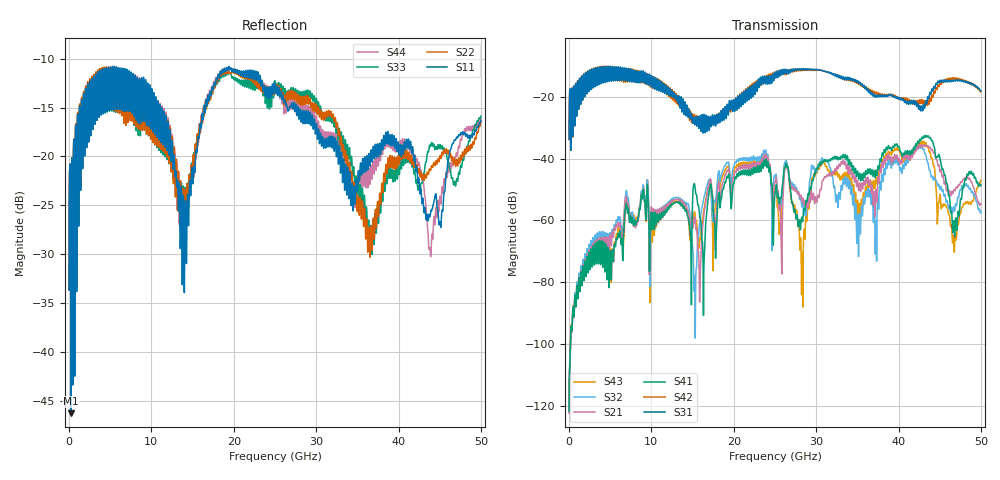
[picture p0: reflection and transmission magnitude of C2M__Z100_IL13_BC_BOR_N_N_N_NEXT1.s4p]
# GHz S MA R 50
! S-Parameters data
! Freq  magS11  angS11  magS12  angS12  magS13  angS13  magS14  angS14
!  magS21  angS21  magS22  angS22  magS23  angS23  magS24  angS24
!  magS31  angS31  magS32  angS32  magS33  angS33  magS34  angS34
!  magS41  angS41  magS42  angS42  magS43  angS43  magS44  angS44
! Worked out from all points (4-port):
!   5000 points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, 10 MHz to 50 GHz, reference 50 ohm
!   strongest paths, dB at 10 MHz, 12.51 GHz, 25.01 GHz, 37.51 GHz, 50 GHz:
!     S31: -33.8, -18.2, -12.1, -19.6, -18.0
!     S42: -33.8, -17.6, -12.1, -18.8, -18.2
!     S41: -121.7, -54.8, -51.4, -42.6, -48.5
!     S21: -122.4, -53.7, -47.6, -46.1, -54.6
!     S32: -122.1, -53.0, -45.6, -52.2, -57.1
!     S43: -121.3, -54.3, -49.7, -44.4, -47.0
!   lowest |S11| = -46.3 dB at 240 MHz (marker M1), VSWR 1.01, Z = 50.1 + j0.464 ohm
!   |S11| at or under -10 dB: start of sweep to end of sweep
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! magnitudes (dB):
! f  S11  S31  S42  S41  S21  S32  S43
! 10 MHz  -33.7  -33.8  -33.8  -121.7  -122.4  -122.1  -121.3
! 240 MHz  -46.3  -30.5  -30.3  -94.7  -95.2  -94.7  -94.1
! 15.31 GHz  -21.1  -27.7  -27.2  -49.6  -59.9  -89.9  -58.5
! 23.71 GHz  -12.7  -13.5  -13.5  -41.0  -39.3  -38.0  -39.5
! 28.22 GHz  -15.7  -10.9  -10.9  -59.2  -53.5  -55.1  -82.6
! 30.77 GHz  -18.0  -11.5  -11.5  -40.8  -47.0  -40.0  -40.8
! 50 GHz  -16.3  -18.0  -18.2  -48.5  -54.6  -57.1  -47.0
